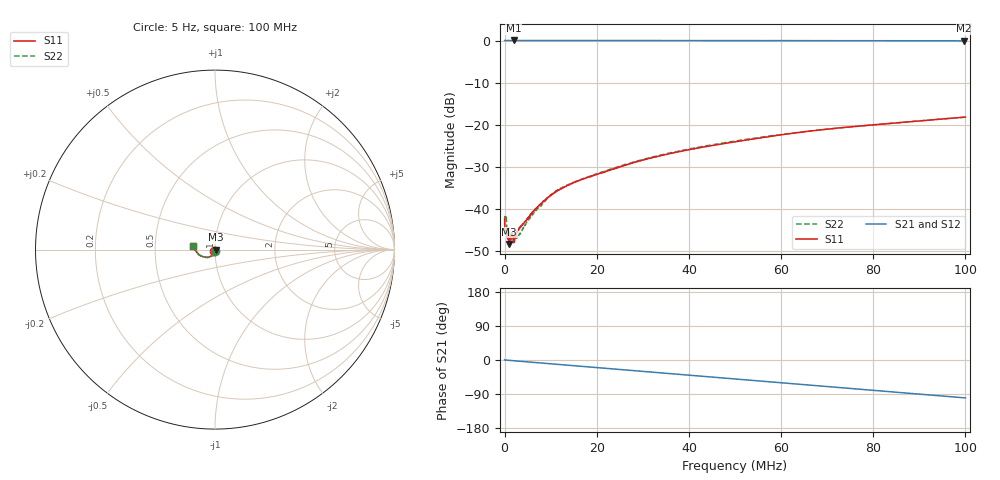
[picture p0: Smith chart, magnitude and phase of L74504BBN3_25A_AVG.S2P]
!Agilent Technologies,E5061B,MY49102235,A.02.00
!Date: Tue Jul 11 15:29:55 2023
!Data & Calibration Information:
!Freq	S11:SOLT2(ON)	S21:SOLT2(ON)	S12:SOLT2(ON)	S22:SOLT2(ON)
# Hz S RI R 50
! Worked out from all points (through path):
!   1600 points, 5 Hz to 100 MHz, reference 50 ohm
!   highest |S21| = 0.02 dB at 2.001 MHz (marker M1); lowest = -0.1 dB at 99.75 MHz (marker M2)
!   group delay of S21, straight-line fit = 2.78 ns
!   lowest |S11| = -48.3 dB at 1.001 MHz (marker M3), VSWR 1.01, Z = 50.4 - j0.0868 ohm
!   |S11| at or under -10 dB: start of sweep to end of sweep
!   |S22| runs from -48.8 to -18.2 dB; largest |S21 - S12| = 0.0026
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5  -0.00517 -0.00564  1.002 0.00801  1 0.0103  -0.0015 -0.00755
437778.6  0.00513 -0.000619  1.001 -0.00538  1.001 -0.00607  0.00661 -0.00226
625395.8  0.00508 -0.000688  1.002 -0.0104  1.002 -0.00986  0.0061 -0.00109
1000630  0.00376 -0.000862  1.001 -0.0162  1.001 -0.0161  0.00516 -0.00178
1563482  0.00435 -0.00301  1.001 -0.0261  1.001 -0.0254  0.00316 -0.00361
2001256  0.00304 -0.00298  1.002 -0.0349  1.001 -0.0346  0.00317 -0.0027
2376490  0.00329 -0.00318  0.9998 -0.0411  1 -0.0415  0.00394 -0.00285
3064420  0.00415 -0.00393  0.9998 -0.0533  0.9991 -0.053  0.00303 -0.00378
6003757  0.00328 -0.00835  0.9955 -0.1045  0.9955 -0.1042  0.00282 -0.00816
9505946  0.00136 -0.0138  0.9872 -0.1654  0.9874 -0.1651  0.000737 -0.0138
1.156974e7  -0.000192 -0.0168  0.9807 -0.2007  0.9804 -0.2004  -0.00109 -0.017
1.669794e7  -0.00425 -0.0221  0.9581 -0.2876  0.9581 -0.2873  -0.0046 -0.0222
2.582865e7  -0.0121 -0.0305  0.9005 -0.4361  0.9003 -0.4359  -0.0099 -0.0319
3.333334e7  -0.0214 -0.0367  0.8352 -0.5498  0.8351 -0.5495  -0.02 -0.0382
4.033771e7  -0.0313 -0.0407  0.7614 -0.6472  0.7615 -0.647  -0.0309 -0.0421
5.003127e7  -0.0465 -0.0424  0.6411 -0.7661  0.6411 -0.7658  -0.0468 -0.0439
6.672921e7  -0.0775 -0.0355  0.393 -0.9163  0.3933 -0.9163  -0.0768 -0.0366
7.53596e7  -0.0917 -0.0255  0.251 -0.9639  0.2511 -0.9638  -0.0912 -0.0272
8.33646e7  -0.103 -0.0124  0.1144 -0.9887  0.1144 -0.9888  -0.1028 -0.015
9.155722e7  -0.1134 0.00346  -0.0278 -0.9936  -0.0277 -0.9937  -0.1137 -0.000173
9.974984e7  -0.1215 0.0214  -0.1688 -0.9782  -0.1686 -0.9785  -0.1218 0.018
1e8  -0.1217 0.0219  -0.173 -0.9776  -0.1728 -0.9777  -0.1222 0.0187
